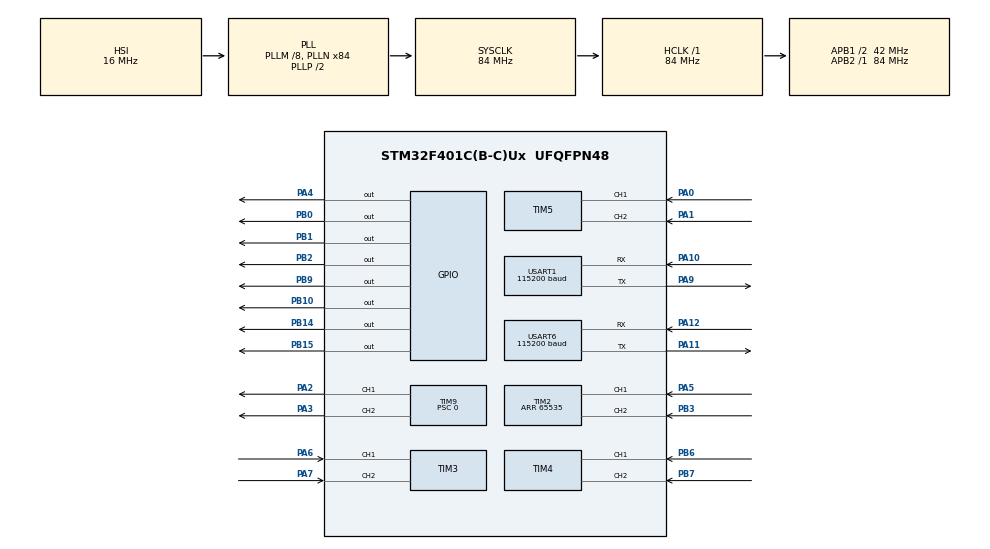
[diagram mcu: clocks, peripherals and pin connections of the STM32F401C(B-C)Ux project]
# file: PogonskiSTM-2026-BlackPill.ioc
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Dma.Request0=USART6_RX
Dma.Request1=USART1_RX
Dma.Request2=USART1_TX
Dma.USART1_RX.1.Direction=DMA_PERIPH_TO_MEMORY
Dma.USART1_RX.1.FIFOMode=DMA_FIFOMODE_DISABLE
Dma.USART1_RX.1.Instance=DMA2_Stream2
Dma.USART1_RX.1.MemDataAlignment=DMA_MDATAALIGN_BYTE
Dma.USART1_RX.1.MemInc=DMA_MINC_ENABLE
Dma.USART1_RX.1.Mode=DMA_CIRCULAR
Dma.USART1_RX.1.PeriphDataAlignment=DMA_PDATAALIGN_BYTE
Dma.USART1_RX.1.PeriphInc=DMA_PINC_DISABLE
Dma.USART1_RX.1.Priority=DMA_PRIORITY_LOW
Dma.USART1_TX.2.Direction=DMA_MEMORY_TO_PERIPH
Dma.USART1_TX.2.FIFOMode=DMA_FIFOMODE_DISABLE
Dma.USART1_TX.2.Instance=DMA2_Stream7
Dma.USART1_TX.2.MemDataAlignment=DMA_MDATAALIGN_BYTE
Dma.USART1_TX.2.MemInc=DMA_MINC_ENABLE
Dma.USART1_TX.2.Mode=DMA_NORMAL
Dma.USART1_TX.2.PeriphDataAlignment=DMA_PDATAALIGN_BYTE
Dma.USART1_TX.2.PeriphInc=DMA_PINC_DISABLE
Dma.USART1_TX.2.Priority=DMA_PRIORITY_LOW
Dma.USART6_RX.0.Direction=DMA_PERIPH_TO_MEMORY
Dma.USART6_RX.0.FIFOMode=DMA_FIFOMODE_DISABLE
Dma.USART6_RX.0.Instance=DMA2_Stream1
Dma.USART6_RX.0.MemDataAlignment=DMA_MDATAALIGN_BYTE
Dma.USART6_RX.0.MemInc=DMA_MINC_ENABLE
Dma.USART6_RX.0.Mode=DMA_CIRCULAR
Dma.USART6_RX.0.PeriphDataAlignment=DMA_PDATAALIGN_BYTE
Dma.USART6_RX.0.PeriphInc=DMA_PINC_DISABLE
Dma.USART6_RX.0.Priority=DMA_PRIORITY_LOW
Mcu.Family=STM32F4
Mcu.Name=STM32F401C(B-C)Ux
Mcu.Package=UFQFPN48
NVIC.DMA2_Stream1_IRQn=true\:0\:0\:false\:false\:true\:false\:true\:true
NVIC.DMA2_Stream2_IRQn=true\:0\:0\:false\:false\:true\:false\:true\:true
NVIC.DMA2_Stream7_IRQn=true\:0\:0\:false\:false\:true\:false\:true\:true
NVIC.PriorityGroup=NVIC_PRIORITYGROUP_4
NVIC.TIM1_UP_TIM10_IRQn=true\:0\:0\:false\:false\:true\:true\:true\:true
PA0-WKUP.Signal=S_TIM5_CH1
PA1.Signal=S_TIM5_CH2
PA10.Mode=Asynchronous
PA10.Signal=USART1_RX
PA11.Mode=Asynchronous
PA11.Signal=USART6_TX
PA12.Mode=Asynchronous
PA12.Signal=USART6_RX
PA2.Signal=S_TIM9_CH1
PA3.Signal=S_TIM9_CH2
PA4.Signal=GPIO_Output
PA5.Signal=S_TIM2_CH1_ETR
PA6.Signal=S_TIM3_CH1
PA7.Signal=S_TIM3_CH2
PA9.Mode=Asynchronous
PA9.Signal=USART1_TX
PB0.Signal=GPIO_Output
PB1.Signal=GPIO_Output
PB10.Signal=GPIO_Output
PB14.Signal=GPIO_Output
PB15.Signal=GPIO_Output
PB2.Signal=GPIO_Output
PB3.Signal=S_TIM2_CH2
PB6.Signal=S_TIM4_CH1
PB7.Signal=S_TIM4_CH2
PB9.Signal=GPIO_Output
PH0\ -\ OSC_IN.Mode=HSE-External-Oscillator
PH0\ -\ OSC_IN.Signal=RCC_OSC_IN
PH1\ -\ OSC_OUT.Mode=HSE-External-Oscillator
PH1\ -\ OSC_OUT.Signal=RCC_OSC_OUT
ProjectManager.HeapSize=0x200
ProjectManager.StackSize=0x400
ProjectManager.TargetToolchain=STM32CubeIDE
RCC.48MHZClocksFreq_Value=42000000
RCC.AHBFreq_Value=84000000
RCC.APB1CLKDivider=RCC_HCLK_DIV2
RCC.APB1Freq_Value=42000000
RCC.APB1TimFreq_Value=84000000
RCC.APB2Freq_Value=84000000
RCC.APB2TimFreq_Value=84000000
RCC.CortexFreq_Value=84000000
RCC.HCLKFreq_Value=84000000
RCC.HSE_VALUE=25000000
RCC.HSI_VALUE=16000000
RCC.LSE_VALUE=32768
RCC.PLLM=8
RCC.PLLN=84
RCC.SYSCLKFreq_VALUE=84000000
RCC.SYSCLKSource=RCC_SYSCLKSOURCE_PLLCLK
RCC.VCOOutputFreq_Value=168000000
SH.S_TIM2_CH1_ETR.0=TIM2_CH1,Encoder_Interface
SH.S_TIM2_CH2.0=TIM2_CH2,Encoder_Interface
SH.S_TIM3_CH1.0=TIM3_CH1,Encoder_Interface
SH.S_TIM3_CH2.0=TIM3_CH2,Encoder_Interface
SH.S_TIM4_CH1.0=TIM4_CH1,Encoder_Interface
SH.S_TIM4_CH2.0=TIM4_CH2,Encoder_Interface
SH.S_TIM5_CH1.0=TIM5_CH1,Encoder_Interface
SH.S_TIM5_CH2.0=TIM5_CH2,Encoder_Interface
SH.S_TIM9_CH1.0=TIM9_CH1,PWM Generation1 CH1
SH.S_TIM9_CH2.0=TIM9_CH2,PWM Generation2 CH2
TIM10.Period=1000-1
TIM10.Prescaler=84-1
TIM2.IC1Polarity=TIM_ICPOLARITY_FALLING
TIM2.IC2Polarity=TIM_ICPOLARITY_RISING
TIM2.Period=65535
TIM4.IC1Polarity=TIM_ICPOLARITY_FALLING
TIM9.Channel-PWM\ Generation1\ CH1=TIM_CHANNEL_1
TIM9.Channel-PWM\ Generation2\ CH2=TIM_CHANNEL_2
TIM9.Period=1680-1
TIM9.Prescaler=0
USART1.BaudRate=115200
USART1.VirtualMode=VM_ASYNC
USART6.BaudRate=115200
USART6.VirtualMode=VM_ASYNC
VP_TIM10_VS_ClockSourceINT.Mode=Enable_Timer
VP_TIM9_VS_ClockSourceINT.Mode=Internal
board=custom

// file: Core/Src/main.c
/* USER CODE BEGIN Header */
/**
 ******************************************************************************
 * @file           : main.c
 * @brief          : Main program body
 ******************************************************************************
 * @attention
 *
 * Copyright (c) 2026 STMicroelectronics.
 * All rights reserved.
 *
 * This software is licensed under terms that can be found in the LICENSE file
 * in the root directory of this software component.
 * If no LICENSE file comes with this software, it is provided AS-IS.
 *
 ******************************************************************************
 */
/* USER CODE END Header */
#include "main.h"
#include "dma.h"
#include "tim.h"
#include "usart.h"
#include "gpio.h"

/* USER CODE BEGIN Includes */
#include "comm.h"
#include "watchdog.h"
/* USER CODE END Includes */

/* USER CODE BEGIN PV */
goal_type rot_goal, xy_goal;
int16_t main_fsm_state = 0;
int8_t dir_dbg=0;

/* USER CODE END PV */

void SystemClock_Config(void);

int main(void)
{

  /* USER CODE BEGIN 1 */
	// Bez oznake razloga restarta = pokrenut je iz bootloader-a (komanda Go posle upisa preko ESP-a):
	// takt i periferije su ostali od bootloader-a, zato čist restart pre bilo čega.
	if ((RCC->CSR & 0xFE000000) == 0)
		NVIC_SystemReset();
	RCC->CSR |= RCC_CSR_RMVF;
	comm_port_boot_check();   // ESP je tražio bootloader (ENTER_BOOTLOADER): skok iz čistog stanja

  /* USER CODE END 1 */

  /* MCU Configuration--------------------------------------------------------*/

  /* Reset of all peripherals, Initializes the Flash interface and the Systick. */
  HAL_Init();

  /* Configure the system clock */
  SystemClock_Config();

  /* Initialize all configured peripherals */
  MX_GPIO_Init();
  MX_DMA_Init();
  MX_TIM2_Init();
  MX_TIM3_Init();
  MX_TIM4_Init();
  MX_TIM5_Init();
  MX_TIM9_Init();
  MX_TIM10_Init();
  MX_USART1_UART_Init();
  MX_USART6_UART_Init();
  /* USER CODE BEGIN 2 */
	comm_init();      // ESP na USART1 (prekidi, ne DMA); bez ESP-a radi isto kao ranije
	// TIM10 prekid (odometrija + regulacija u double) traje duže od jednog bajta na
	// 115200 (~87 us), a USART1 nema FIFO: spusti TIM10 ispod USART1 (1), inače se gube bajtovi.
	// U .ioc je TIM10 i dalje 0; ovo ga namerno menja posle MX_* inicijalizacije.
	HAL_NVIC_SetPriority(TIM1_UP_TIM10_IRQn, 2, 0);
	time_start();
	enc_init();
	pwm_init();
	odometry_init();
	move_init();
	watchdog_init();  // poslednje: ako se glavna petlja zaglavi, čip se sam restartuje (motori staju)
  /* USER CODE END 2 */

  /* Infinite loop */
  /* USER CODE BEGIN WHILE */

	rot_goal.type = -1;
	rot_goal.phi = 3.14;
	rot_goal.w_max = 3.14;
	rot_goal.angle_tolerance_percentage = 1.0;
	rot_goal.start_coeff_w = 1.0;
	rot_goal.stop_coeff_w = 1.0;
//	move_goal(&rot_goal);
	xy_goal.type = 1;
	xy_goal.x = 0.5;
	xy_goal.y = 0.5;
	xy_goal.direction = 1;
	xy_goal.v_max = 1.0;
	xy_goal.w_max = 6.0;
	xy_goal.distance_tolerance_percentage = 1.0;
	xy_goal.angle_tolerance_percentage = 1.0;
	xy_goal.start_coeff_v = 1.0;
	xy_goal.start_coeff_w = 1.0;
	xy_goal.stop_coeff_v = 1.0;
	xy_goal.stop_coeff_w = 1.0;
//	move_goal(&xy_goal);

	while (1) {
    /* USER CODE END WHILE */

    /* USER CODE BEGIN 3 */
//		set_motor_l_dir(dir_dbg);
//		set_motor_r_dir(dir_dbg);
		comm_poll();
		watchdog_feed();
		switch (main_fsm_state) {
		case 0:
			comm_port_update();             // cilj sada dolazi sa ESP-a (comm_port.c)
			move_goal(comm_port_goal());
			break;
		case -1:
			break;
		}
	}
  /* USER CODE END 3 */
}

void SystemClock_Config(void)
{
  RCC_OscInitTypeDef RCC_OscInitStruct = {0};
  RCC_ClkInitTypeDef RCC_ClkInitStruct = {0};

  /** Configure the main internal regulator output voltage
  */
  __HAL_RCC_PWR_CLK_ENABLE();
  __HAL_PWR_VOLTAGESCALING_CONFIG(PWR_REGULATOR_VOLTAGE_SCALE2);

  /** Initializes the RCC Oscillators according to the specified parameters
  * in the RCC_OscInitTypeDef structure.
  */
  RCC_OscInitStruct.OscillatorType = RCC_OSCILLATORTYPE_HSI;
  RCC_OscInitStruct.HSIState = RCC_HSI_ON;
  RCC_OscInitStruct.HSICalibrationValue = RCC_HSICALIBRATION_DEFAULT;
  RCC_OscInitStruct.PLL.PLLState = RCC_PLL_ON;
  RCC_OscInitStruct.PLL.PLLSource = RCC_PLLSOURCE_HSI;
  RCC_OscInitStruct.PLL.PLLM = 8;
  RCC_OscInitStruct.PLL.PLLN = 84;
  RCC_OscInitStruct.PLL.PLLP = RCC_PLLP_DIV2;
  RCC_OscInitStruct.PLL.PLLQ = 4;
  if (HAL_RCC_OscConfig(&RCC_OscInitStruct) != HAL_OK)
  {
    Error_Handler();
  }

  /** Initializes the CPU, AHB and APB buses clocks
  */
  RCC_ClkInitStruct.ClockType = RCC_CLOCKTYPE_HCLK|RCC_CLOCKTYPE_SYSCLK
                              |RCC_CLOCKTYPE_PCLK1|RCC_CLOCKTYPE_PCLK2;
  RCC_ClkInitStruct.SYSCLKSource = RCC_SYSCLKSOURCE_PLLCLK;
  RCC_ClkInitStruct.AHBCLKDivider = RCC_SYSCLK_DIV1;
  RCC_ClkInitStruct.APB1CLKDivider = RCC_HCLK_DIV2;
  RCC_ClkInitStruct.APB2CLKDivider = RCC_HCLK_DIV1;

  if (HAL_RCC_ClockConfig(&RCC_ClkInitStruct, FLASH_LATENCY_2) != HAL_OK)
  {
    Error_Handler();
  }
}

void Error_Handler(void)
{
	__disable_irq();
	while (1) {
	}
}
